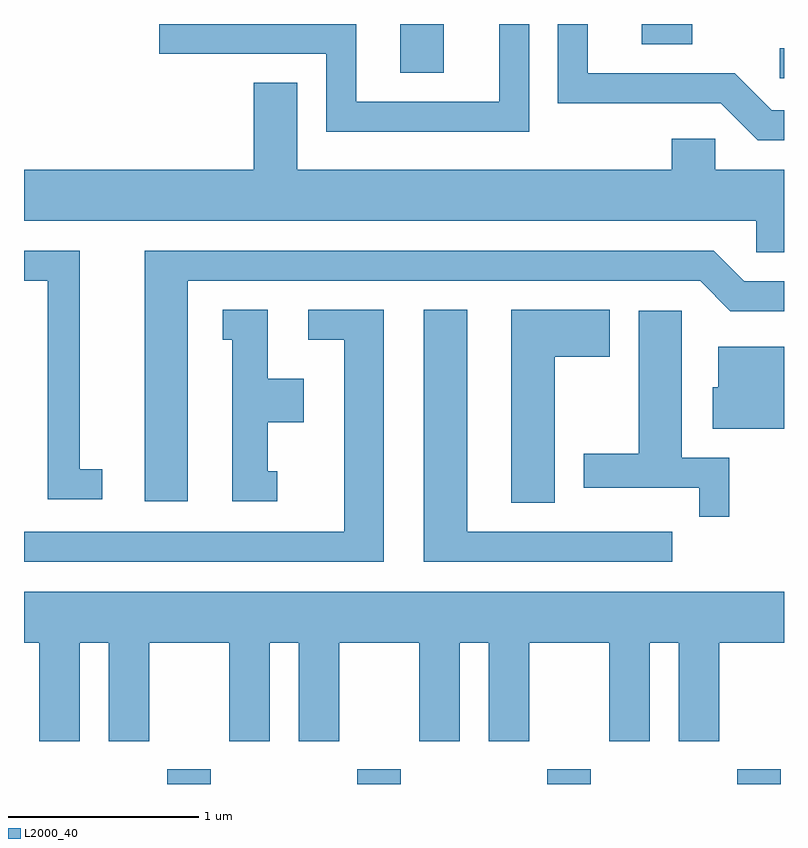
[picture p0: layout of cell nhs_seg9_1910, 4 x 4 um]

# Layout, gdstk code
import gdstk
lib = gdstk.Library(unit=1e-6, precision=1e-09)
def R(c, l, rs):  # rectangles x0, y0, x1, y1
    for r in rs: c.add(gdstk.rectangle(r[:2], r[2:], *l))
def A(c, l, x, y, w, h, nx, ny, dx, dy):  # array of equal rectangles
    R(c, l, [(x+i*dx, y+j*dy, x+i*dx+w, y+j*dy+h) for i in range(nx) for j in range(ny)])
def P(c, l, *ps):  # polygons
    for p in ps: c.add(gdstk.Polygon(p, *l))
L2000_40 = (2000, 40)

nhs_seg9_1910 = lib.new_cell('nhs_seg9_1910')
A(nhs_seg9_1910, L2000_40, 242.366, 1964.432, 0.228, 0.077, 4, 1, 1, 0)
R(nhs_seg9_1910, L2000_40, [(245.588,1968.146,245.611,1968.304), (243.591,1968.176,243.819,1968.432), (244.861,1968.326,245.129,1968.432)])
P(nhs_seg9_1910, L2000_40, [(245.611,1967.979),(245.547,1967.979),(245.352,1968.174),(244.579,1968.174),(244.579,1968.432),(244.421,1968.432),(244.421,1968.016),(245.279,1968.016),(245.474,1967.821),(245.611,1967.821)],
  [(244.269,1968.432),(244.111,1968.432),(244.111,1968.024),(243.359,1968.024),(243.359,1968.432),(242.323,1968.432),(242.323,1968.276),(243.201,1968.276),(243.201,1967.866),(244.269,1967.866)],
  [(245.611,1967.664),(245.249,1967.664),(245.249,1967.829),(245.021,1967.829),(245.021,1967.664),(243.049,1967.664),(243.049,1968.124),(242.821,1968.124),(242.821,1967.664),(241.611,1967.664),(241.611,1967.396),(245.466,1967.396),(245.466,1967.231),(245.611,1967.231)],
  [(242.023,1966.089),(241.904,1966.089),(241.904,1967.239),(241.611,1967.239),(241.611,1967.081),(241.736,1967.081),(241.736,1965.931),(242.023,1965.931)],
  [(242.474,1967.081),(245.169,1967.081),(245.329,1966.921),(245.611,1966.921),(245.611,1967.079),(245.402,1967.079),(245.242,1967.239),(242.246,1967.239),(242.246,1965.921),(242.474,1965.921)],
  [(244.404,1966.681),(244.694,1966.681),(244.694,1966.929),(244.176,1966.929),(244.176,1965.911),(244.404,1965.911)],
  [(242.943,1966.079),(242.894,1966.079),(242.894,1966.336),(243.084,1966.336),(243.084,1966.564),(242.894,1966.564),(242.894,1966.929),(242.658,1966.929),(242.658,1966.771),(242.706,1966.771),(242.706,1965.921),(242.943,1965.921)],
  [(245.023,1965.759),(243.944,1965.759),(243.944,1966.929),(243.716,1966.929),(243.716,1965.601),(245.023,1965.601)],
  [(243.504,1966.929),(243.108,1966.929),(243.108,1966.771),(243.296,1966.771),(243.296,1965.759),(241.611,1965.759),(241.611,1965.601),(243.504,1965.601)],
  [(245.324,1966.149),(245.074,1966.149),(245.074,1966.924),(244.846,1966.924),(244.846,1966.169),(244.556,1966.169),(244.556,1965.991),(245.166,1965.991),(245.166,1965.838),(245.324,1965.838)],
  [(245.611,1966.734),(245.266,1966.734),(245.266,1966.519),(245.236,1966.519),(245.236,1966.301),(245.611,1966.301)],
  [(241.904,1965.176),(242.056,1965.176),(242.056,1964.656),(242.269,1964.656),(242.269,1965.176),(242.691,1965.176),(242.691,1964.656),(242.904,1964.656),(242.904,1965.176),(243.056,1965.176),(243.056,1964.656),(243.269,1964.656),(243.269,1965.176),(243.691,1965.176),(243.691,1964.656),(243.904,1964.656),(243.904,1965.176),(244.056,1965.176),(244.056,1964.656),(244.269,1964.656),(244.269,1965.176),(244.691,1965.176),(244.691,1964.656),(244.904,1964.656),(244.904,1965.176),(245.056,1965.176),(245.056,1964.656),(245.269,1964.656),(245.269,1965.176),(245.611,1965.176),(245.611,1965.444),(241.611,1965.444),(241.611,1965.176),(241.691,1965.176),(241.691,1964.656),(241.904,1964.656)])

lib.write_gds('nhs_seg9_1910.gds')
